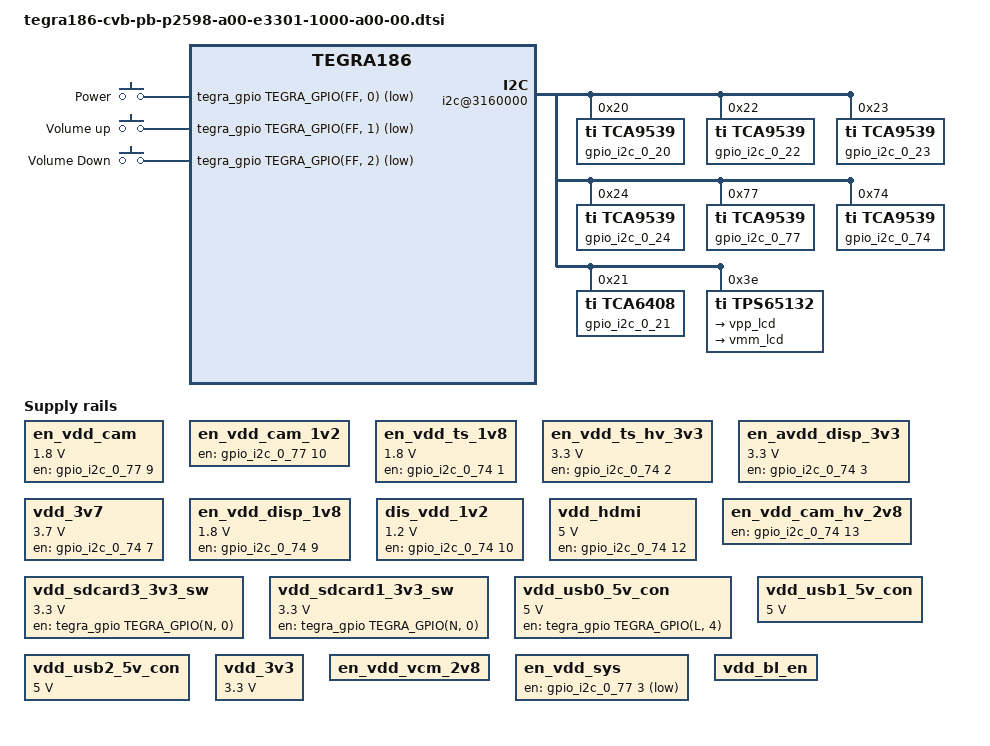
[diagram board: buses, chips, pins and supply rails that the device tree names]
/*
 * tegra186-cvb-pb-p2598-a00-e3301-1000-a00-00.dtsi
 *
 * Copyright (c) 2015-2016, NVIDIA CORPORATION.  All rights reserved.
 *
 * This program is free software; you can redistribute it and/or modify
 * it under the terms of the GNU General Public License as published by
 * the Free Software Foundation; version 2 of the License.
 *
 * This program is distributed in the hope that it will be useful, but WITHOUT
 * ANY WARRANTY; without even the implied warranty of MERCHANTABILITY or
 * FITNESS FOR A PARTICULAR PURPOSE.  See the GNU General Public License for
 * more details.
 */

#include <dt-bindings/gpio/tegra-gpio.h>
#include <dt-bindings/input/input.h>

/ {
	i2c@3160000 {
		gpio_i2c_0_20: gpio@20 {
			compatible = "ti,tca9539";
			reg = <0x20>;
			gpio-controller;
			#gpio-cells = <2>;
		};

		gpio_i2c_0_22: gpio@22 {
			compatible = "ti,tca9539";
			reg = <0x22>;
			gpio-controller;
			#gpio-cells = <2>;
		};

		gpio_i2c_0_23: gpio@23 {
			compatible = "ti,tca9539";
			reg = <0x23>;
			gpio-controller;
			#gpio-cells = <2>;
		};

		gpio_i2c_0_24: gpio@24 {
			compatible = "ti,tca9539";
			reg = <0x24>;
			gpio-controller;
			#gpio-cells = <2>;
		};

		gpio_i2c_0_77: gpio@77 {
			compatible = "ti,tca9539";
			reg = <0x77>;
			gpio-controller;
			#gpio-cells = <2>;
		};

		gpio_i2c_0_74: gpio@74 {
			compatible = "ti,tca9539";
			reg = <0x74>;
			gpio-controller;
			#gpio-cells = <2>;
			enable-touch-rails {
				gpio-output-high = <1 2>;
			};
		};

		gpio_i2c_0_21: gpio@21 {
			compatible = "ti,tca6408";
			reg = <0x21>;
			gpio-controller;
			#gpio-cells = <2>;
		};

		tps65132@3e {
			reg = <0x3e>;
			compatible = "ti,tps65132";
			status = "okay";
			vpp_lcd: outp {
				regulator-name = "outp";
				regulator-min-microvol = <4000000>;
				regulator-max-microvol = <6000000>;
				enable-active-high;
			};

			vmm_lcd: outn {
				regulator-name = "outn";
				regulator-min-microvol = <4000000>;
				regulator-max-microvol = <6000000>;
				enable-active-high;
				ti,disable-active-discharge;
			};
		};

	};

	fixed-regulators {
		en_vdd_cam: regulator@101 {
			compatible = "regulator-fixed-sync";
			reg = <101>;
			regulator-name = "en-vdd-cam";
			regulator-min-microvolt = <1800000>;
			regulator-max-microvolt = <1800000>;
			gpio = <&gpio_i2c_0_77 9 0>;
			enable-active-high;
		};

		en_vdd_cam_1v2: regulator@102 {
			compatible = "regulator-fixed-sync";
			reg = <102>;
			regulator-name = "en-vdd-cam-1v2";
			regulator-min-microvol = <1200000>;
			regulator-max-microvol = <1200000>;
			gpio = <&gpio_i2c_0_77 10 0>;
			enable-active-high;
		};

		en_vdd_ts_1v8: regulator@103 {
			compatible = "regulator-fixed-sync";
			reg = <103>;
			regulator-name = "en-vdd-ts-1v8";
			regulator-min-microvolt = <1800000>;
			regulator-max-microvolt = <1800000>;
			gpio = <&gpio_i2c_0_74 1 0>;
			enable-active-high;
			regulator-boot-on;
		};

		en_vdd_ts_hv_3v3: regulator@104 {
			compatible = "regulator-fixed-sync";
			reg = <104>;
			regulator-name = "en-vdd-ts-hv-3v3";
			regulator-min-microvolt = <3300000>;
			regulator-max-microvolt = <3300000>;
			gpio = <&gpio_i2c_0_74 2 0>;
			enable-active-high;
			regulator-boot-on;
		};

		en_avdd_disp_3v3: regulator@105 {
			compatible = "regulator-fixed-sync";
			reg = <105>;
			regulator-name = "en-vdd-disp-3v3";
			regulator-min-microvolt = <3300000>;
			regulator-max-microvolt = <3300000>;
			gpio = <&gpio_i2c_0_74 3 0>;
			enable-active-high;
		};

		vdd_3v7: regulator@106 {
			compatible = "regulator-fixed-sync";
			reg = <106>;
			regulator-name = "en-vdd-disp-3v3";
			regulator-min-microvolt = <3700000>;
			regulator-max-microvolt = <3700000>;
			gpio = <&gpio_i2c_0_74 7 0>;
			enable-active-high;
		};

		en_vdd_disp_1v8: regulator@107 {
			compatible = "regulator-fixed-sync";
			reg = <107>;
			regulator-name = "en-vdd-disp-1v8";
			regulator-min-microvolt = <1800000>;
			regulator-max-microvolt = <1800000>;
			gpio = <&gpio_i2c_0_74 9 0>;
			enable-active-high;
		};

		dis_vdd_1v2: regulator@108 {
			compatible = "regulator-fixed-sync";
			reg = <108>;
			regulator-name = "dis-vdd-1v2";
			regulator-min-microvolt = <1200000>;
			regulator-max-microvolt = <1200000>;
			gpio = <&gpio_i2c_0_74 10 0>;
			enable-active-high;
			regulator-boot-on;
		};

		vdd_hdmi: regulator@109 {
			compatible = "regulator-fixed-sync";
			reg = <109>;
			regulator-name = "vdd-hdmi";
			regulator-min-microvolt = <5000000>;
			regulator-max-microvolt = <5000000>;
			gpio = <&gpio_i2c_0_74 12 0>;
			enable-active-high;
		};

		en_vdd_cam_hv_2v8: regulator@110 {
			compatible = "regulator-fixed-sync";
			reg = <110>;
			regulator-name = "en-vdd-cam-hv-2v8";
			regulator-min-microvol = <2800000>;
			regulator-max-microvol = <2800000>;
			gpio = <&gpio_i2c_0_74 13 0>;
			enable-active-high;
		};

		vdd_sdcard3_3v3_sw: regulator@111 {
			compatible = "regulator-fixed";
			reg = <111>;
			regulator-name = "vdd-sdcard3-3v3-sw";
			regulator-min-microvolt = <3300000>;
			regulator-max-microvolt = <3300000>;
			gpio = <&tegra_gpio TEGRA_GPIO(N, 0) 0>;
			enable-active-high;
		};

		vdd_sdcard1_3v3_sw: regulator@112 {
			compatible = "regulator-fixed";
			reg = <112>;
			regulator-name = "vdd-sdcard1-3v3-sw";
			regulator-min-microvolt = <3300000>;
			regulator-max-microvolt = <3300000>;
			gpio = <&tegra_gpio TEGRA_GPIO(N, 0) 0>;
			enable-active-high;
		};

		vdd_usb0_5v_con: regulator@113 {
			compatible = "regulator-fixed";
			reg = <113>;
			regulator-name = "vdd-usb0-5v-con";
			regulator-min-microvolt = <5000000>;
			regulator-max-microvolt = <5000000>;
			gpio = <&tegra_gpio TEGRA_GPIO(L, 4) 0>;
			enable-active-high;
		};

		vdd_usb1_5v_con: regulator@114 {
			compatible = "regulator-fixed";
			reg = <114>;
			regulator-name = "vdd-usb1-5v-con";
			regulator-min-microvolt = <5000000>;
			regulator-max-microvolt = <5000000>;
		};

		vdd_usb2_5v_con: regulator@115 {
			compatible = "regulator-fixed";
			reg = <115>;
			regulator-name = "vdd-usb2-5v-con";
			regulator-min-microvolt = <5000000>;
			regulator-max-microvolt = <5000000>;
		};

		vdd_3v3: regulator@116 {
			compatible = "regulator-fixed-sync";
			reg = <116>;
			regulator-name = "vdd-3v3";
			regulator-min-microvolt = <3300000>;
			regulator-max-microvolt = <3300000>;
		};

		en_vdd_vcm_2v8: regulator@117 {
			compatible = "regulator-fixed-sync";
			reg = <117>;
			regulator-name = "en-vdd-vcm-2v8";
			regulator-min-microvol = <2800000>;
			regulator-max-microvol = <2800000>;
			enable-active-high;
		};

		en_vdd_sys: regulator@118 {
			compatible = "regulator-fixed-sync";
			reg = <118>;
			regulator-name = "en-vdd-sys";
			regulator-min-microvol = <1200000>;
			regulator-max-microvol = <1200000>;
			gpio = <&gpio_i2c_0_77 3 1>;
		};

		vdd_bl_en: regulator@119 {
			compatible = "regulator-fixed-sync";
			reg = <119>;
			regulator-name = "vdd-sys-bl";
			regulator-min-microvol = <3300000>;
			regulator-max-microvol = <3300000>;
		};
	};

	gpio-keys {
		compatible = "gpio-keys";
		gpio-keys,name = "gpio-keys";

		power {
			label = "Power";
			gpios = <&tegra_gpio TEGRA_GPIO(FF, 0) GPIO_ACTIVE_LOW>;
			linux,code = <KEY_POWER>;
			gpio-key,wakeup;
		};

		volume_up {
			label = "Volume up";
			gpios = <&tegra_gpio TEGRA_GPIO(FF, 1) GPIO_ACTIVE_LOW>;
			linux,code = <KEY_VOLUMEUP>;
		};

		volume_down {
			label = "Volume Down";
			gpios = <&tegra_gpio TEGRA_GPIO(FF, 2) GPIO_ACTIVE_LOW>;
			linux,code = <KEY_VOLUMEDOWN>;
		};
	};
};
